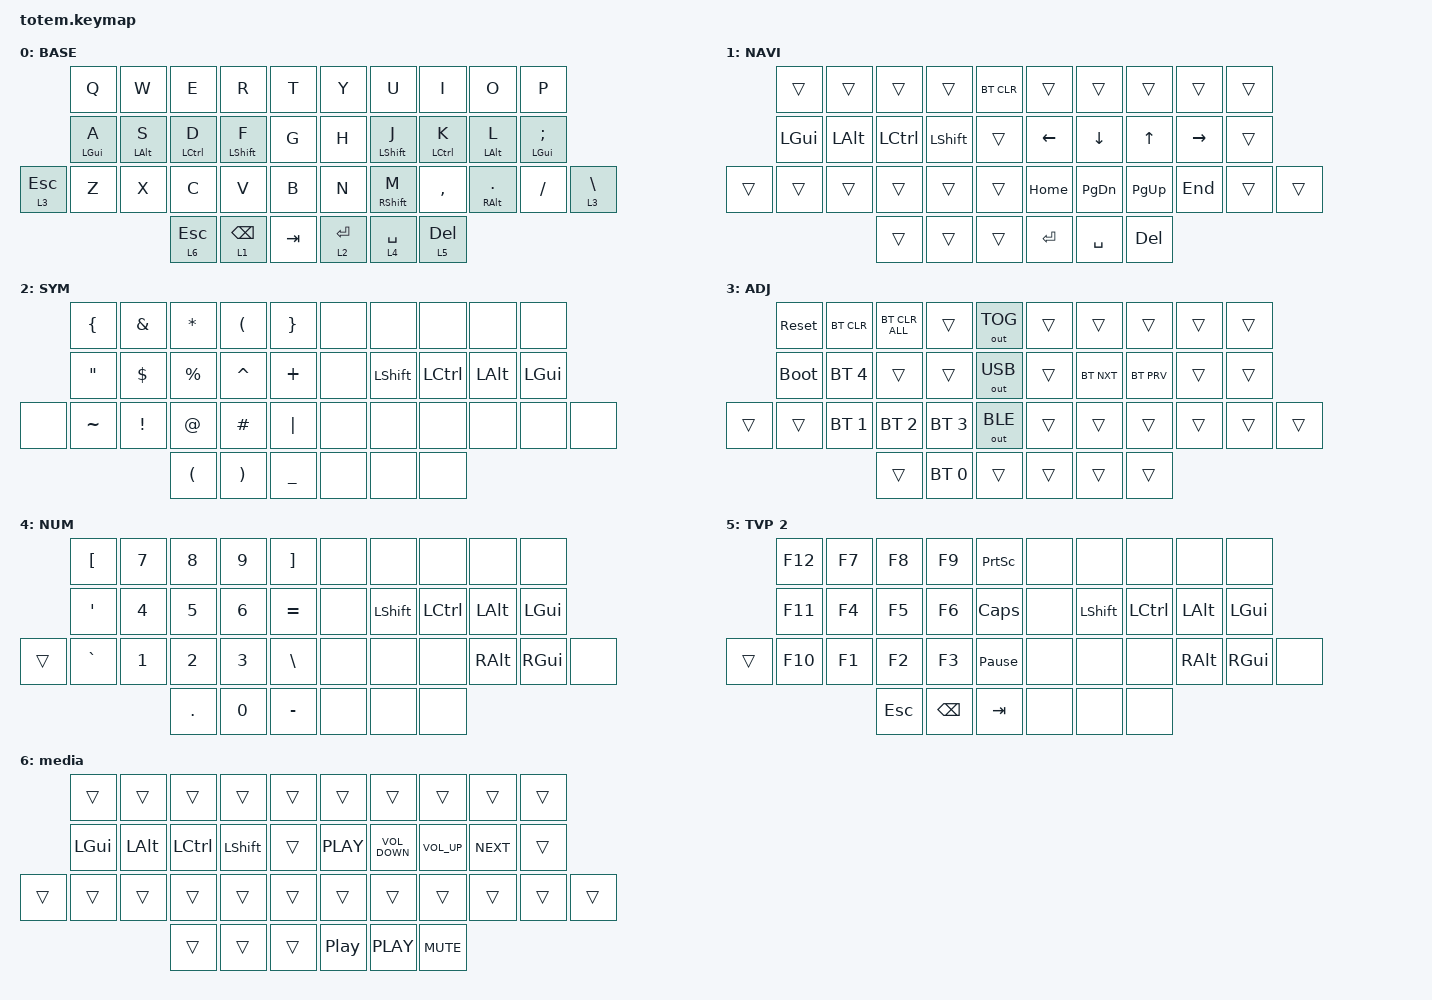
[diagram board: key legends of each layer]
//
//                                                        ▀▀▀▀▀     ▀▀▀▀▀          ▀▀█▀▀
//                                                        ▄▀▀▀▄  ▄  ▄▀▀▀▄  ▄  ▄▀▀▀▄  █  ▄▀▀▀▄
//                                                        █   █  █  █   █  █  █   █  █  █   █
//                                                         ▀▀▀   █   ▀▀▀   █   ▀▀▀   ▀   ▀▀▀
//                                                               █      ▄▄▄█▄▄▄    █   █  
//                                                               ▀      █  █  █     █▄█
//                                                             ▀▀▀▀▀    █  █  █      ▀
//                                                                      ▀  ▀  ▀
//
// ▄▄▄▄▄▄▄▄▄▄▄▄▄▄▄▄▄▄▄▄▄▄▄▄▄▄▄▄▄▄▄▄▄▄▄▄▄▄▄▄▄▄▄▄▄▄▄▄▄▄▄▄▄▄▄▄▄▄▄▄▄▄▄▄▄▄▄▄▄▄▄▄▄▄▄▄▄▄▄▄▄▄▄▄▄▄▄▄▄▄▄▄▄▄▄▄▄▄▄▄▄▄▄▄▄▄▄▄▄▄▄▄▄▄▄▄▄▄▄▄▄▄▄▄▄▄▄▄▄▄▄▄▄▄▄▄▄▄▄▄▄▄▄▄▄▄▄▄▄

#include <behaviors.dtsi>
#include <dt-bindings/zmk/bt.h>
#include <dt-bindings/zmk/keys.h>
#include <dt-bindings/zmk/outputs.h>

#define BASE 0
#define NAV  1
#define SYM  2
#define ADJ  3
#define TVP1 4
#define TVP2 5

&mt {
    quick-tap-ms = <100>;
    global-quick-tap;
    flavor = "tap-preferred";
    tapping-term-ms = <200>;
};

/ {
    combos {
        compatible = "zmk,combos";

        combo_esc {
            timeout-ms = <50>;
            key-positions = <0 1>;
            bindings = <&kp ESC>;
        };

        combo_tvp {
            timeout-ms = <100>;
            key-positions = <11 12 13>;
            bindings = <&tog 4>;
        };
    };

    macros {
        gif: gif {
            label = "giphy";
            compatible = "zmk,behavior-macro";
            #binding-cells = <0>;
            bindings =
                <&macro_press>,
                <&kp LSHFT>,
                <&macro_tap>,
                <&kp N2>,
                <&macro_release>,
                <&kp LSHFT>,
                <&macro_tap>,
                <&kp G &kp I &kp F>;
        };
    };

    keymap {
        compatible = "zmk,keymap";

        // ▄▄▄▄▄▄▄▄▄▄▄▄▄▄▄▄▄▄▄▄▄▄▄▄▄▄▄▄▄▄▄▄▄▄▄▄▄▄▄▄▄▄▄▄▄▄▄▄▄▄▄▄▄▄▄▄▄▄▄▄▄▄▄▄▄▄▄▄▄▄▄▄▄▄▄▄▄▄▄▄▄▄▄▄▄▄▄▄▄▄▄▄▄▄▄▄▄▄▄▄▄▄▄▄▄▄▄▄▄▄▄▄▄▄▄▄▄▄▄▄▄▄▄▄▄▄▄▄▄▄▄▄▄▄▄▄▄▄▄▄▄▄▄▄▄▄▄▄▄

        base_layer {
            // ┏━━━━━━━━━━━━━━━━━━━━━━━━━━━━━━━━━━━━━━━┓

            label = "BASE";

            // ┗━━━━━━━━━━━━━━━━━━━━━━━━━━━━━━━━━━━━━━━┛
            //             ┏━━━━━━━━━━━┳━━━━━━━━━━━┳━━━━━━━━━━━┳━━━━━━━━━━━┳━━━━━━━━━━━┓   ┏━━━━━━━━━━━┳━━━━━━━━━━━┳━━━━━━━━━━━┳━━━━━━━━━━━┳━━━━━━━━━━━┓
            //             ┃     Q     ┃     W     ┃     E     ┃     R     ┃     T     ┃   ┃     Y     ┃     U     ┃     I     ┃     O     ┃     P     ┃
            //             ┣━━━━━━━━━━━╋━━━━━━━━━━━╋━━━━━━━━━━━╋━━━━━━━━━━━╋━━━━━━━━━━━┫   ┣━━━━━━━━━━━╋━━━━━━━━━━━╋━━━━━━━━━━━╋━━━━━━━━━━━╋━━━━━━━━━━━┫
            //             ┃     A     ┃     R     ┃     S     ┃     T     ┃     D     ┃   ┃     H     ┃     N     ┃     E     ┃     I     ┃     O     ┃
            // ┏━━━━━━━━━━━╋━━━━━━━━━━━╋━━━━━━━━━━━╋━━━━━━━━━━━╋━━━━━━━━━━━╋━━━━━━━━━━━┫   ┣━━━━━━━━━━━╋━━━━━━━━━━━╋━━━━━━━━━━━╋━━━━━━━━━━━╋━━━━━━━━━━━╋━━━━━━━━━━━┓
            // ┃    ESC    ┃     Z     ┃     X     ┃     C     ┃     V     ┃     B     ┃   ┃     K     ┃     M     ┃     ,     ┃     .     ┃     /     ┃     \     ┃
            // ┗━━━━━━━━━━━┻━━━━━━━━━━━┻━━━━━━━━━━━╋━━━━━━━━━━━╋━━━━━━━━━━━╋━━━━━━━━━━━┫   ┣━━━━━━━━━━━╋━━━━━━━━━━━╋━━━━━━━━━━━╋━━━━━━━━━━━┻━━━━━━━━━━━┻━━━━━━━━━━━┛
            //                                     ┃    ESC    ┃    BSPC   ┃    TAB    ┃   ┃   ENTER   ┃           ┃   DEL     ┃
            //                                     ┗━━━━━━━━━━━┻━━━━━━━━━━━┻━━━━━━━━━━━┛   ┗━━━━━━━━━━━┻━━━━━━━━━━━┻━━━━━━━━━━━┛

            bindings = <
           &kp Q       &kp W       &kp E        &kp R        &kp T      &kp Y        &kp U        &kp I         &kp O        &kp P
           &mt LGUI A  &mt LALT S  &mt LCTRL D  &mt LSHFT F  &kp G      &kp H        &mt LSHFT J  &mt LCTRL K   &mt LALT L   &mt LGUI SEMICOLON
&lt 3 ESC  &kp Z       &kp X       &kp C        &kp V        &kp B      &kp N        &mt RSHFT M  &kp COMMA     &mt RALT DOT &kp FSLH            &lt 3 BSLH
                                   &lt 6 ESC    &lt 1 BSPC   &kp TAB    &lt 2 ENTER  &lt 4 SPACE  &lt 5 DELETE
            >;
        };

        // ▄▄▄▄▄▄▄▄▄▄▄▄▄▄▄▄▄▄▄▄▄▄▄▄▄▄▄▄▄▄▄▄▄▄▄▄▄▄▄▄▄▄▄▄▄▄▄▄▄▄▄▄▄▄▄▄▄▄▄▄▄▄▄▄▄▄▄▄▄▄▄▄▄▄▄▄▄▄▄▄▄▄▄▄▄▄▄▄▄▄▄▄▄▄▄▄▄▄▄▄▄▄▄▄▄▄▄▄▄▄▄▄▄▄▄▄▄▄▄▄▄▄▄▄▄▄▄▄▄▄▄▄▄▄▄▄▄▄▄▄▄▄▄▄▄▄▄▄▄

        nav_layer {
            // ┏━━━━━━━━━━━━━━━━━━━━━━━━━━━━━━━━━━━━━━━┓

            label = "NAVI";

            // ┗━━━━━━━━━━━━━━━━━━━━━━━━━━━━━━━━━━━━━━━┛
            //             ┏━━━━━━━━━━━┳━━━━━━━━━━━┳━━━━━━━━━━━┳━━━━━━━━━━━┳━━━━━━━━━━━┓   ┏━━━━━━━━━━━┳━━━━━━━━━━━┳━━━━━━━━━━━┳━━━━━━━━━━━┳━━━━━━━━━━━┓
            //             ┃           ┃           ┃     UP    ┃           ┃     {     ┃   ┃     }     ┃     7     ┃     8     ┃     9     ┃     +     ┃
            //             ┣━━━━━━━━━━━╋━━━━━━━━━━━╋━━━━━━━━━━━╋━━━━━━━━━━━╋━━━━━━━━━━━┫   ┣━━━━━━━━━━━╋━━━━━━━━━━━╋━━━━━━━━━━━╋━━━━━━━━━━━╋━━━━━━━━━━━┫
            //             ┃   SHIFT   ┃   LEFT    ┃    DOWN   ┃   RIGHT   ┃     [     ┃   ┃     ]     ┃     4     ┃     5     ┃     6     ┃     -     ┃
            // ┏━━━━━━━━━━━╋━━━━━━━━━━━╋━━━━━━━━━━━╋━━━━━━━━━━━╋━━━━━━━━━━━╋━━━━━━━━━━━┫   ┣━━━━━━━━━━━╋━━━━━━━━━━━╋━━━━━━━━━━━╋━━━━━━━━━━━╋━━━━━━━━━━━╋━━━━━━━━━━━┓
            // ┃           ┃           ┃   P UP    ┃  C LOCK   ┃  P DOWN   ┃     (     ┃   ┃     )     ┃     1     ┃     2     ┃     3     ┃     *     ┃           ┃
            // ┗━━━━━━━━━━━┻━━━━━━━━━━━┻━━━━━━━━━━━╋━━━━━━━━━━━╋━━━━━━━━━━━╋━━━━━━━━━━━┫   ┣━━━━━━━━━━━╋━━━━━━━━━━━╋━━━━━━━━━━━╋━━━━━━━━━━━┻━━━━━━━━━━━┻━━━━━━━━━━━┛
            //                                     ┃           ┃    TAB    ┃    SPC    ┃   ┃    DEL    ┃     0     ┃           ┃
            //                                     ┗━━━━━━━━━━━┻━━━━━━━━━━━┻━━━━━━━━━━━┛   ┗━━━━━━━━━━━┻━━━━━━━━━━━┻━━━━━━━━━━━┛

            bindings = <
        &trans    &trans        &trans            &trans          &bt BT_CLR    &trans          &trans         &trans        &trans     &trans
        &kp LGUI  &kp LEFT_ALT  &kp LEFT_CONTROL  &kp LEFT_SHIFT  &trans        &kp LEFT_ARROW  &kp DOWN       &kp UP_ARROW  &kp RIGHT  &trans
&trans  &trans    &trans        &trans            &trans          &trans        &kp HOME        &kp PAGE_DOWN  &kp PAGE_UP   &kp END    &trans  &trans
                                &trans            &trans          &trans        &kp ENTER       &kp SPACE      &kp DELETE
            >;
        };

        // ▄▄▄▄▄▄▄▄▄▄▄▄▄▄▄▄▄▄▄▄▄▄▄▄▄▄▄▄▄▄▄▄▄▄▄▄▄▄▄▄▄▄▄▄▄▄▄▄▄▄▄▄▄▄▄▄▄▄▄▄▄▄▄▄▄▄▄▄▄▄▄▄▄▄▄▄▄▄▄▄▄▄▄▄▄▄▄▄▄▄▄▄▄▄▄▄▄▄▄▄▄▄▄▄▄▄▄▄▄▄▄▄▄▄▄▄▄▄▄▄▄▄▄▄▄▄▄▄▄▄▄▄▄▄▄▄▄▄▄▄▄▄▄▄▄▄▄▄▄

        sim_layer {
            // ┏━━━━━━━━━━━━━━━━━━━━━━━━━━━━━━━━━━━━━━━┓

            label = "SYM";

            // ┗━━━━━━━━━━━━━━━━━━━━━━━━━━━━━━━━━━━━━━━┛
            //             ┏━━━━━━━━━━━┳━━━━━━━━━━━┳━━━━━━━━━━━┳━━━━━━━━━━━┳━━━━━━━━━━━┓   ┏━━━━━━━━━━━┳━━━━━━━━━━━┳━━━━━━━━━━━┳━━━━━━━━━━━┳━━━━━━━━━━━┓
            //             ┃     !     ┃     @     ┃     #     ┃     $     ┃     %     ┃   ┃     ˆ     ┃     &     ┃     Ü     ┃     '     ┃     "     ┃
            //             ┣━━━━━━━━━━━╋━━━━━━━━━━━╋━━━━━━━━━━━╋━━━━━━━━━━━╋━━━━━━━━━━━┫   ┣━━━━━━━━━━━╋━━━━━━━━━━━╋━━━━━━━━━━━╋━━━━━━━━━━━╋━━━━━━━━━━━┫
            //             ┃     Ä     ┃           ┃    SZ     ┃           ┃           ┃   ┃   MUTE    ┃   YEN     ┃   EURO    ┃  POUND    ┃     Ö     ┃
            // ┏━━━━━━━━━━━╋━━━━━━━━━━━╋━━━━━━━━━━━╋━━━━━━━━━━━╋━━━━━━━━━━━╋━━━━━━━━━━━┫   ┣━━━━━━━━━━━╋━━━━━━━━━━━╋━━━━━━━━━━━╋━━━━━━━━━━━╋━━━━━━━━━━━╋━━━━━━━━━━━┓
            // ┃           ┃  EMAIL1   ┃  EMAIL2   ┃           ┃           ┃           ┃   ┃   VOL-    ┃   VOL+    ┃   LAST    ┃   NEXT    ┃     \     ┃           ┃
            // ┗━━━━━━━━━━━┻━━━━━━━━━━━┻━━━━━━━━━━━╋━━━━━━━━━━━╋━━━━━━━━━━━╋━━━━━━━━━━━┫   ┣━━━━━━━━━━━╋━━━━━━━━━━━╋━━━━━━━━━━━╋━━━━━━━━━━━┻━━━━━━━━━━━┻━━━━━━━━━━━┛
            //                                     ┃           ┃    GIF    ┃    ADJ    ┃   ┃           ┃           ┃           ┃
            //                                     ┗━━━━━━━━━━━┻━━━━━━━━━━━┻━━━━━━━━━━━┛   ┗━━━━━━━━━━━┻━━━━━━━━━━━┻━━━━━━━━━━━┛

            bindings = <
       &kp LEFT_BRACE     &kp AMPERSAND    &kp ASTERISK          &kp LEFT_PARENTHESIS   &kp RIGHT_BRACE    &none  &none      &none      &none     &none
       &kp DOUBLE_QUOTES  &kp DOLLAR       &kp PERCENT           &kp CARET              &kp PLUS           &none  &kp LSHFT  &kp LCTRL  &kp LALT  &kp LGUI
&none  &kp TILDE          &kp EXCLAMATION  &kp AT_SIGN           &kp HASH               &kp PIPE           &none  &none      &none      &none     &none     &none
                                           &kp LEFT_PARENTHESIS  &kp RIGHT_PARENTHESIS  &kp UNDERSCORE     &none  &none      &none
            >;
        };

        // ▄▄▄▄▄▄▄▄▄▄▄▄▄▄▄▄▄▄▄▄▄▄▄▄▄▄▄▄▄▄▄▄▄▄▄▄▄▄▄▄▄▄▄▄▄▄▄▄▄▄▄▄▄▄▄▄▄▄▄▄▄▄▄▄▄▄▄▄▄▄▄▄▄▄▄▄▄▄▄▄▄▄▄▄▄▄▄▄▄▄▄▄▄▄▄▄▄▄▄▄▄▄▄▄▄▄▄▄▄▄▄▄▄▄▄▄▄▄▄▄▄▄▄▄▄▄▄▄▄▄▄▄▄▄▄▄▄▄▄▄▄▄▄▄▄▄▄▄▄

        adjust_layer {
            // ┏━━━━━━━━━━━━━━━━━━━━━━━━━━━━━━━━━━━━━━━┓

            label = "ADJ";

            // ┗━━━━━━━━━━━━━━━━━━━━━━━━━━━━━━━━━━━━━━━┛
            //             ┏━━━━━━━━━━━┳━━━━━━━━━━━┳━━━━━━━━━━━┳━━━━━━━━━━━┳━━━━━━━━━━━┓   ┏━━━━━━━━━━━┳━━━━━━━━━━━┳━━━━━━━━━━━┳━━━━━━━━━━━┳━━━━━━━━━━━┓
            //             ┃   RESET   ┃ BT CLEAR  ┃  OUT TOG  ┃           ┃           ┃   ┃           ┃    F7     ┃    F8     ┃    F9     ┃    F12    ┃
            //             ┣━━━━━━━━━━━╋━━━━━━━━━━━╋━━━━━━━━━━━╋━━━━━━━━━━━╋━━━━━━━━━━━┫   ┣━━━━━━━━━━━╋━━━━━━━━━━━╋━━━━━━━━━━━╋━━━━━━━━━━━╋━━━━━━━━━━━┫
            //             ┃ BOOTLOAD  ┃ BT NEXT   ┃ BT PRV    ┃           ┃           ┃   ┃           ┃    F4     ┃    F5     ┃    F6     ┃    F11    ┃
            // ┏━━━━━━━━━━━╋━━━━━━━━━━━╋━━━━━━━━━━━╋━━━━━━━━━━━╋━━━━━━━━━━━╋━━━━━━━━━━━┫   ┣━━━━━━━━━━━╋━━━━━━━━━━━╋━━━━━━━━━━━╋━━━━━━━━━━━╋━━━━━━━━━━━╋━━━━━━━━━━━┓
            // ┃           ┃           ┃ BT 1      ┃ BT 2      ┃ BT 3      ┃           ┃   ┃           ┃    F1     ┃    F2     ┃    F3     ┃    F10    ┃           ┃
            // ┗━━━━━━━━━━━┻━━━━━━━━━━━┻━━━━━━━━━━━╋━━━━━━━━━━━╋━━━━━━━━━━━╋━━━━━━━━━━━┫   ┣━━━━━━━━━━━╋━━━━━━━━━━━╋━━━━━━━━━━━╋━━━━━━━━━━━┻━━━━━━━━━━━┻━━━━━━━━━━━┛
            //                                     ┃           ┃ BT 0      ┃           ┃   ┃           ┃           ┃           ┃
            //                                     ┗━━━━━━━━━━━┻━━━━━━━━━━━┻━━━━━━━━━━━┛   ┗━━━━━━━━━━━┻━━━━━━━━━━━┻━━━━━━━━━━━┛

            bindings = <
        &sys_reset   &bt BT_CLR    &bt BT_CLR_ALL  &trans        &out OUT_TOG    &trans  &trans      &trans      &trans  &trans
        &bootloader  &bt BT_SEL 4  &trans          &trans        &out OUT_USB    &trans  &bt BT_NXT  &bt BT_PRV  &trans  &trans
&trans  &trans       &bt BT_SEL 1  &bt BT_SEL 2    &bt BT_SEL 3  &out OUT_BLE    &trans  &trans      &trans      &trans  &trans  &trans
                                   &trans          &bt BT_SEL 0  &trans          &trans  &trans      &trans
            >;
        };

        // ▄▄▄▄▄▄▄▄▄▄▄▄▄▄▄▄▄▄▄▄▄▄▄▄▄▄▄▄▄▄▄▄▄▄▄▄▄▄▄▄▄▄▄▄▄▄▄▄▄▄▄▄▄▄▄▄▄▄▄▄▄▄▄▄▄▄▄▄▄▄▄▄▄▄▄▄▄▄▄▄▄▄▄▄▄▄▄▄▄▄▄▄▄▄▄▄▄▄▄▄▄▄▄▄▄▄▄▄▄▄▄▄▄▄▄▄▄▄▄▄▄▄▄▄▄▄▄▄▄▄▄▄▄▄▄▄▄▄▄▄▄▄▄▄▄▄▄▄▄

        num_layer {
            // ┏━━━━━━━━━━━━━━━━━━━━━━━━━━━━━━━━━━━━━━━┓

            label = "NUM";

            // ┗━━━━━━━━━━━━━━━━━━━━━━━━━━━━━━━━━━━━━━━┛
            //             ┏━━━━━━━━━━━┳━━━━━━━━━━━┳━━━━━━━━━━━┳━━━━━━━━━━━┳━━━━━━━━━━━┓   ┏━━━━━━━━━━━┳━━━━━━━━━━━┳━━━━━━━━━━━┳━━━━━━━━━━━┳━━━━━━━━━━━┓
            //             ┃ NEXT FILE ┃ MARK IN   ┃ ROTATE    ┃ MARK OUT  ┃ SHOW SNAP ┃   ┃           ┃           ┃           ┃           ┃           ┃
            //             ┣━━━━━━━━━━━╋━━━━━━━━━━━╋━━━━━━━━━━━╋━━━━━━━━━━━╋━━━━━━━━━━━┫   ┣━━━━━━━━━━━╋━━━━━━━━━━━╋━━━━━━━━━━━╋━━━━━━━━━━━╋━━━━━━━━━━━┫
            //             ┃ TVP II    ┃ LEFT      ┃ PAN       ┃ RIGHT     ┃ PLAY/FLIP ┃   ┃           ┃           ┃           ┃           ┃           ┃
            // ┏━━━━━━━━━━━╋━━━━━━━━━━━╋━━━━━━━━━━━╋━━━━━━━━━━━╋━━━━━━━━━━━╋━━━━━━━━━━━┫   ┣━━━━━━━━━━━╋━━━━━━━━━━━╋━━━━━━━━━━━╋━━━━━━━━━━━╋━━━━━━━━━━━╋━━━━━━━━━━━┓
            // ┃ FULLSCR   ┃ SHIFT     ┃ COPY      ┃ DELETE    ┃ PASTE     ┃ IMG MARK  ┃   ┃           ┃           ┃           ┃           ┃           ┃           ┃
            // ┗━━━━━━━━━━━┻━━━━━━━━━━━┻━━━━━━━━━━━╋━━━━━━━━━━━╋━━━━━━━━━━━╋━━━━━━━━━━━┫   ┣━━━━━━━━━━━╋━━━━━━━━━━━╋━━━━━━━━━━━╋━━━━━━━━━━━┻━━━━━━━━━━━┻━━━━━━━━━━━┛
            //                                     ┃           ┃ UNDO/SAVE ┃  SEL/MOV  ┃   ┃           ┃           ┃           ┃
            //                                     ┗━━━━━━━━━━━┻━━━━━━━━━━━┻━━━━━━━━━━━┛   ┗━━━━━━━━━━━┻━━━━━━━━━━━┻━━━━━━━━━━━┛

            bindings = <
        &kp LEFT_BRACKET  &kp N7  &kp N8      &kp N9  &kp RIGHT_BRACKET       &none  &none      &none      &none     &none
        &kp SQT           &kp N4  &kp N5      &kp N6  &kp EQUAL               &none  &kp LSHFT  &kp LCTRL  &kp LALT  &kp LGUI
&trans  &kp GRAVE         &kp N1  &kp N2      &kp N3  &kp BSLH                &none  &none      &none      &kp RALT  &kp RGUI  &none
                                  &kp PERIOD  &kp N0  &kp MINUS               &none  &none      &none
            >;
        };

        // ▄▄▄▄▄▄▄▄▄▄▄▄▄▄▄▄▄▄▄▄▄▄▄▄▄▄▄▄▄▄▄▄▄▄▄▄▄▄▄▄▄▄▄▄▄▄▄▄▄▄▄▄▄▄▄▄▄▄▄▄▄▄▄▄▄▄▄▄▄▄▄▄▄▄▄▄▄▄▄▄▄▄▄▄▄▄▄▄▄▄▄▄▄▄▄▄▄▄▄▄▄▄▄▄▄▄▄▄▄▄▄▄▄▄▄▄▄▄▄▄▄▄▄▄▄▄▄▄▄▄▄▄▄▄▄▄▄▄▄▄▄▄▄▄▄▄▄▄▄

        fun_layer {
            // ┏━━━━━━━━━━━━━━━━━━━━━━━━━━━━━━━━━━━━━━━┓

            label = "TVP 2";

            // ┗━━━━━━━━━━━━━━━━━━━━━━━━━━━━━━━━━━━━━━━┛
            //             ┏━━━━━━━━━━━┳━━━━━━━━━━━┳━━━━━━━━━━━┳━━━━━━━━━━━┳━━━━━━━━━━━┓   ┏━━━━━━━━━━━┳━━━━━━━━━━━┳━━━━━━━━━━━┳━━━━━━━━━━━┳━━━━━━━━━━━┓
            //             ┃ SOLO      ┃ TOGGLE IN ┃ RESET ROT ┃ TOGGLE OUT┃ TAKE SNAP ┃   ┃           ┃           ┃           ┃           ┃           ┃
            //             ┣━━━━━━━━━━━╋━━━━━━━━━━━╋━━━━━━━━━━━╋━━━━━━━━━━━╋━━━━━━━━━━━┫   ┣━━━━━━━━━━━╋━━━━━━━━━━━╋━━━━━━━━━━━╋━━━━━━━━━━━╋━━━━━━━━━━━┫
            //             ┃ ---       ┃ LAST KEY  ┃ NEW KEY   ┃ NEXT KEY  ┃ CAPSL     ┃   ┃           ┃           ┃           ┃           ┃           ┃
            // ┏━━━━━━━━━━━╋━━━━━━━━━━━╋━━━━━━━━━━━╋━━━━━━━━━━━╋━━━━━━━━━━━╋━━━━━━━━━━━┫   ┣━━━━━━━━━━━╋━━━━━━━━━━━╋━━━━━━━━━━━╋━━━━━━━━━━━╋━━━━━━━━━━━╋━━━━━━━━━━━┓
            // ┃           ┃ FULLSCR   ┃ CPY2BRUSH ┃ DEL HEAD  ┃ PSTinPLACE┃ BOOK MARK ┃   ┃           ┃           ┃           ┃           ┃           ┃           ┃
            // ┗━━━━━━━━━━━┻━━━━━━━━━━━┻━━━━━━━━━━━╋━━━━━━━━━━━╋━━━━━━━━━━━╋━━━━━━━━━━━┫   ┣━━━━━━━━━━━╋━━━━━━━━━━━╋━━━━━━━━━━━╋━━━━━━━━━━━┻━━━━━━━━━━━┻━━━━━━━━━━━┛
            //                                     ┃           ┃ REDO/SAV1 ┃TRANS/WARP ┃   ┃           ┃           ┃           ┃
            //                                     ┗━━━━━━━━━━━┻━━━━━━━━━━━┻━━━━━━━━━━━┛   ┗━━━━━━━━━━━┻━━━━━━━━━━━┻━━━━━━━━━━━┛

            bindings = <
        &kp F12  &kp F7  &kp F8   &kp F9    &kp PSCRN          &none  &none      &none      &none     &none
        &kp F11  &kp F4  &kp F5   &kp F6    &kp CLCK           &none  &kp LSHFT  &kp LCTRL  &kp LALT  &kp LGUI
&trans  &kp F10  &kp F1  &kp F2   &kp F3    &kp PAUSE_BREAK    &none  &none      &none      &kp RALT  &kp RGUI  &none
                         &kp ESC  &kp BSPC  &kp TAB            &none  &none      &none
            >;
        };

        media {
            bindings = <
        &trans    &trans    &trans     &trans     &trans    &trans            &trans             &trans           &trans      &trans
        &kp LGUI  &kp LALT  &kp LCTRL  &kp LSHFT  &trans    &kp C_PLAY        &kp C_VOLUME_DOWN  &kp C_VOLUME_UP  &kp C_NEXT  &trans
&trans  &trans    &trans    &trans     &trans     &trans    &trans            &trans             &trans           &trans      &trans  &trans
                            &trans     &trans     &trans    &kp C_PLAY_PAUSE  &kp C_PLAY         &kp C_MUTE
            >;
        };
    };
};
